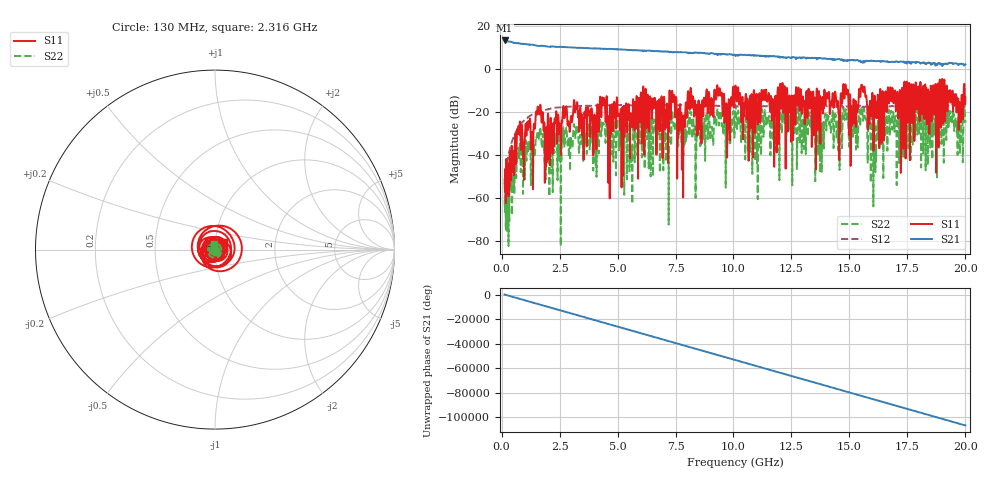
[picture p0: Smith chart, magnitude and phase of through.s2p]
!Created with skrf (http://scikit-rf.org).
# GHz S RI R 50.0
!freq ReS11 ImS11 ReS21 ImS21 ReS12 ImS12 ReS22 ImS22
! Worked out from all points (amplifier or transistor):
!   20013 points, 130 MHz to 20 GHz, reference 50 ohm
!   highest |S21| = 13.4 dB at 130 MHz (marker M1)
!   |S21| within 3 dB of that: start of sweep to 2.354 GHz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
!   unconditionally stable (mu >= 1): start of sweep to end of sweep
!   at 3.465 GHz: K = 1.35, MAG = 10.0 dB, |S12| = -17.0 dB
!   at 10.14 GHz: K = 1.80, MAG = 6.7 dB, |S12| = -17.2 dB
!   at 20 GHz: K = 2.62, MAG = 2.5 dB, |S12| = -16.8 dB
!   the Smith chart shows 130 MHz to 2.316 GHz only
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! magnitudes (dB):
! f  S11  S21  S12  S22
! 130 MHz  -51.0  13.4  -53.5  -60.9
! 617 MHz  -36.4  12.2  -29.2  -46.6
! 1.588 GHz  -19.0  10.9  -19.9  -29.6
! 1.993 GHz  -21.1  10.5  -18.7  -31.4
! 2.725 GHz  -21.5  10.4  -17.5  -34.4
! 3.442 GHz  -21.3  10.0  -17.1  -33.1
! 6.754 GHz  -18.6  8.4  -16.6  -28.9
! 7.43 GHz  -12.4  7.9  -16.8  -25.8
! 7.817 GHz  -26.4  7.9  -16.7  -31.0
! 8.098 GHz  -18.5  7.8  -16.8  -30.8
! 8.543 GHz  -17.2  7.6  -16.8  -22.4
! 9.377 GHz  -9.9  7.0  -17.0  -24.8
! 9.75 GHz  -16.8  6.9  -17.0  -28.6
! 10.06 GHz  -9.1  6.5  -17.4  -20.2
! 13.38 GHz  -36.1  5.4  -16.6  -26.4
! 14.52 GHz  -20.1  4.8  -16.8  -34.9
! 14.82 GHz  -7.3  4.0  -17.4  -19.8
! 15.14 GHz  -23.1  4.3  -16.9  -30.0
! 15.58 GHz  -10.0  3.6  -17.4  -23.8
! 16.11 GHz  -17.0  3.9  -16.8  -34.0
! 16.69 GHz  -12.9  3.4  -17.4  -18.7
! 20 GHz  -13.1  2.3  -16.8  -24.8
